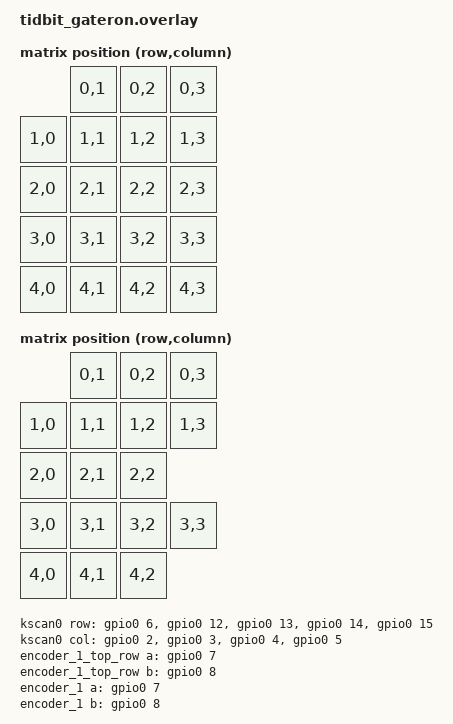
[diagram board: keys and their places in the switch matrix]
/*
 * Copyright (c) 2025 The ZMK Contributors
 *
 * SPDX-License-Identifier: MIT
 */

#include <dt-bindings/zmk/matrix_transform.h>
#include <dt-bindings/pinctrl/rpi-pico-rp2040-pinctrl.h>

/ {
    aliases {
        /*
         * rp2040_zero has a single on-board led, which has "led-strip" alias.
         * Redefine it as just "led" to reduce confusion.
         */
        /delete-property/ led-strip;
    };

    chosen {
        zmk,kscan = &kscan0;
        zmk,matrix-transform = &default_transform;
        zmk,underglow = &led_strip;
    };

    kscan0: kscan {
        compatible = "zmk,kscan-gpio-matrix";
        diode-direction = "row2col";
        /* wakeup-source; */

        row-gpios
            = <&gpio0  6 (GPIO_ACTIVE_HIGH | GPIO_PULL_DOWN)>
            , <&gpio0 12 (GPIO_ACTIVE_HIGH | GPIO_PULL_DOWN)>
            , <&gpio0 13 (GPIO_ACTIVE_HIGH | GPIO_PULL_DOWN)>
            , <&gpio0 14 (GPIO_ACTIVE_HIGH | GPIO_PULL_DOWN)>
            , <&gpio0 15 (GPIO_ACTIVE_HIGH | GPIO_PULL_DOWN)>
            ;

        col-gpios
            = <&gpio0 2 (GPIO_ACTIVE_HIGH | GPIO_PULL_DOWN)>
            , <&gpio0 3 (GPIO_ACTIVE_HIGH | GPIO_PULL_DOWN)>
            , <&gpio0 4 (GPIO_ACTIVE_HIGH | GPIO_PULL_DOWN)>
            , <&gpio0 5 (GPIO_ACTIVE_HIGH | GPIO_PULL_DOWN)>
            ;

    };

    default_transform: keymap_transform_0 {
        compatible = "zmk,matrix-transform";
        columns = <4>;
        rows = <5>;

        map = <
                    RC(0,1) RC(0,2) RC(0,3)
            RC(1,0) RC(1,1) RC(1,2) RC(1,3)
            RC(2,0) RC(2,1) RC(2,2) RC(2,3)
            RC(3,0) RC(3,1) RC(3,2) RC(3,3)
            RC(4,0) RC(4,1) RC(4,2) RC(4,3)
        >;
    };

    numpad_transform: keymap_transform_1 {
        compatible = "zmk,matrix-transform";
        columns = <4>;
        rows = <5>;

        map = <
                    RC(0,1) RC(0,2) RC(0,3)
            RC(1,0) RC(1,1) RC(1,2) RC(1,3)
            RC(2,0) RC(2,1) RC(2,2)
            RC(3,0) RC(3,1) RC(3,2) RC(3,3)
            RC(4,0) RC(4,1) RC(4,2)
        >;
    };

    encoder_1_top_row: encoder_1_top_row {
        compatible = "alps,ec11";
        a-gpios = <&gpio0 7 (GPIO_ACTIVE_LOW | GPIO_PULL_UP)>;
        b-gpios = <&gpio0 8 (GPIO_ACTIVE_LOW | GPIO_PULL_UP)>;
        steps = <80>;
        status = "disabled";
    };

    encoder_1: encoder_1 {
        compatible = "alps,ec11";
        a-gpios = <&gpio0 7 (GPIO_ACTIVE_LOW | GPIO_PULL_UP)>;
        b-gpios = <&gpio0 8 (GPIO_ACTIVE_LOW | GPIO_PULL_UP)>;
        steps = <80>;
        status = "disabled";
    };

    encoder_2: encoder_2 {
        compatible = "alps,ec11";
        a-gpios = <&gpio0 26 (GPIO_ACTIVE_LOW | GPIO_PULL_UP)>;
        b-gpios = <&gpio0 27 (GPIO_ACTIVE_LOW | GPIO_PULL_UP)>;
        steps = <80>;
        status = "disabled";
    };

    encoder_3: encoder_3 {
        compatible = "alps,ec11";
        a-gpios = <&gpio0 10 (GPIO_ACTIVE_LOW | GPIO_PULL_UP)>;
        b-gpios = <&gpio0 11 (GPIO_ACTIVE_LOW | GPIO_PULL_UP)>;
        steps = <80>;
        status = "disabled";
    };

    encoder_4: encoder_4 {
        compatible = "alps,ec11";
        a-gpios = <&gpio0 28 (GPIO_ACTIVE_LOW | GPIO_PULL_UP)>;
        b-gpios = <&gpio0 29 (GPIO_ACTIVE_LOW | GPIO_PULL_UP)>;
        steps = <80>;
        status = "disabled";
    };

    sensors: sensors {
        compatible = "zmk,keymap-sensors";
        triggers-per-rotation = <20>;
    };
};

&pinctrl {
    ws2812_pio1_default: ws2812_pio1_default {
        ws2812 {
            pinmux = <PIO1_P9>;
        };
    };
};

&pio1 {
    status = "okay";

    pio-ws2812 {
        compatible = "worldsemi,ws2812-rpi_pico-pio";
        status = "okay";
        pinctrl-0 = <&ws2812_pio1_default>;
        pinctrl-names = "default";
        bit-waveform = <3>, <3>, <4>;

        led_strip: ws2812 {
            status = "okay";
            gpios = <&gpio0 9 GPIO_ACTIVE_HIGH>;
            chain-length = <8>;
            color-mapping = <LED_COLOR_ID_GREEN
                             LED_COLOR_ID_RED
                             LED_COLOR_ID_BLUE>;
            reset-delay = <400>;
            frequency = <800000>;
        };
    };
};
